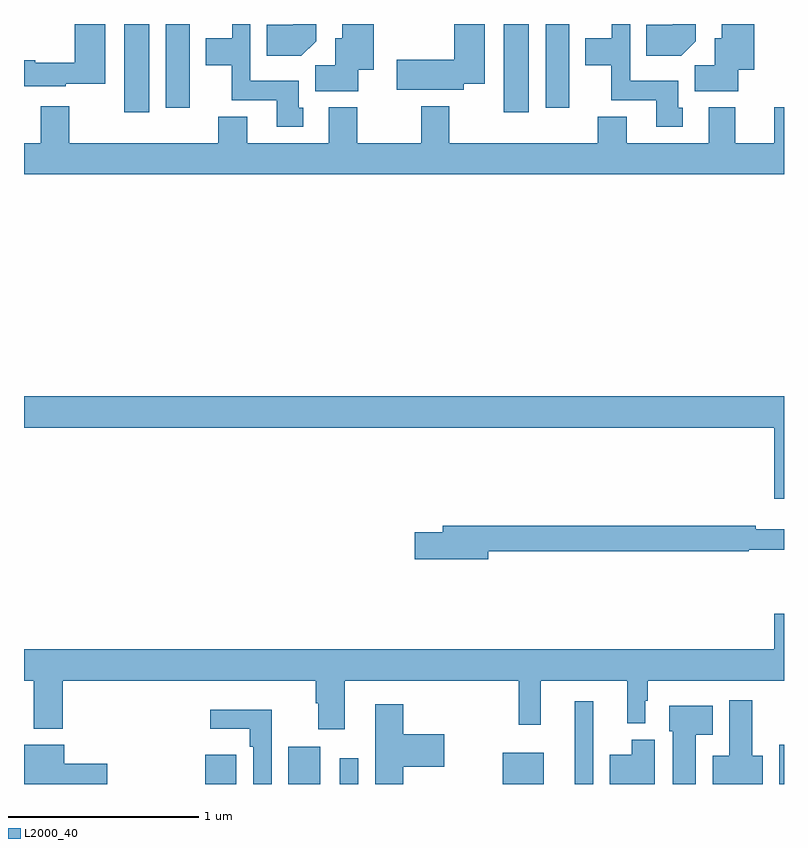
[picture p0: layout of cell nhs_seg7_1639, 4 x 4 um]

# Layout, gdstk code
import gdstk
lib = gdstk.Library(unit=1e-6, precision=1e-09)
def R(c, l, rs):  # rectangles x0, y0, x1, y1
    for r in rs: c.add(gdstk.rectangle(r[:2], r[2:], *l))
def P(c, l, *ps):  # polygons
    for p in ps: c.add(gdstk.Polygon(p, *l))
L2000_40 = (2000, 40)

nhs_seg7_1639 = lib.new_cell('nhs_seg7_1639')
R(nhs_seg7_1639, L2000_40, [(221.954,1072,222.118,1072.153), (222.392,1072,222.559,1072.195), (222.663,1072,222.759,1072.135), (223.52,1072,223.735,1072.165), (223.898,1072,223.995,1072.435), (224.975,1072,225,1072.207), (221.528,1075.536,221.659,1076), (223.526,1075.536,223.657,1076), (221.747,1075.56,221.872,1076), (223.745,1075.56,223.87,1076)])
P(nhs_seg7_1639, L2000_40, [(224.758,1075.76),(224.843,1075.76),(224.843,1076),(224.672,1076),(224.672,1075.924),(224.636,1075.924),(224.636,1075.784),(224.531,1075.784),(224.531,1075.646),(224.758,1075.646)],
  [(222.538,1075.91),(222.538,1076),(222.416,1076),(222.416,1075.996),(222.277,1075.996),(222.277,1075.832),(222.46,1075.832)],
  [(222.76,1075.76),(222.84,1075.76),(222.84,1076),(222.674,1076),(222.674,1075.924),(222.638,1075.924),(222.638,1075.784),(222.533,1075.784),(222.533,1075.646),(222.76,1075.646)],
  [(222.469,1075.56),(222.445,1075.56),(222.445,1075.702),(222.192,1075.702),(222.192,1076),(222.096,1076),(222.096,1075.924),(221.957,1075.924),(221.957,1075.784),(222.094,1075.784),(222.094,1075.598),(222.329,1075.598),(222.329,1075.458),(222.469,1075.458)],
  [(224.467,1075.56),(224.443,1075.56),(224.443,1075.702),(224.19,1075.702),(224.19,1076),(224.094,1076),(224.094,1075.924),(223.955,1075.924),(223.955,1075.784),(224.092,1075.784),(224.092,1075.598),(224.327,1075.598),(224.327,1075.458),(224.467,1075.458)],
  [(224.536,1075.91),(224.536,1076),(224.414,1076),(224.414,1075.996),(224.275,1075.996),(224.275,1075.832),(224.458,1075.832)],
  [(221.22,1075.685),(221.428,1075.685),(221.428,1075.999),(221.266,1075.999),(221.266,1075.795),(221.058,1075.795),(221.058,1075.808),(221,1075.808),(221,1075.673),(221.22,1075.673)],
  [(223.315,1075.685),(223.426,1075.685),(223.426,1075.999),(223.264,1075.999),(223.264,1075.813),(222.963,1075.813),(222.963,1075.655),(223.315,1075.655)],
  [(225,1075.561),(224.948,1075.561),(224.948,1075.372),(224.743,1075.372),(224.743,1075.561),(224.603,1075.561),(224.603,1075.372),(224.173,1075.372),(224.173,1075.513),(224.021,1075.513),(224.021,1075.372),(223.237,1075.372),(223.237,1075.567),(223.09,1075.567),(223.09,1075.372),(222.753,1075.372),(222.753,1075.561),(222.605,1075.561),(222.605,1075.372),(222.175,1075.372),(222.175,1075.513),(222.023,1075.513),(222.023,1075.372),(221.239,1075.372),(221.239,1075.567),(221.087,1075.567),(221.087,1075.372),(221,1075.372),(221,1075.208),(225,1075.208)],
  [(225,1074.04),(221,1074.04),(221,1073.876),(224.948,1073.876),(224.948,1073.502),(225,1073.502)],
  [(223.444,1073.224),(224.814,1073.224),(224.814,1073.232),(225,1073.232),(225,1073.341),(224.852,1073.341),(224.852,1073.36),(223.205,1073.36),(223.205,1073.324),(223.056,1073.324),(223.056,1073.182),(223.444,1073.182)],
  [(222.688,1072.544),(223.603,1072.544),(223.603,1072.311),(223.721,1072.311),(223.721,1072.544),(224.174,1072.544),(224.174,1072.319),(224.271,1072.319),(224.271,1072.437),(224.284,1072.437),(224.284,1072.544),(225,1072.544),(225,1072.897),(224.948,1072.897),(224.948,1072.708),(221,1072.708),(221,1072.544),(221.051,1072.544),(221.051,1072.292),(221.204,1072.292),(221.204,1072.544),(222.536,1072.544),(222.536,1072.424),(222.548,1072.424),(222.548,1072.287),(222.688,1072.287)],
  [(224.887,1072.15),(224.833,1072.15),(224.833,1072.441),(224.711,1072.441),(224.711,1072.15),(224.624,1072.15),(224.624,1072),(224.887,1072)],
  [(222.995,1072.091),(223.213,1072.091),(223.213,1072.261),(222.995,1072.261),(222.995,1072.42),(222.848,1072.42),(222.848,1072),(222.995,1072)],
  [(224.536,1072.259),(224.626,1072.259),(224.626,1072.411),(224.397,1072.411),(224.397,1072.278),(224.414,1072.278),(224.414,1072),(224.536,1072)],
  [(222.303,1072.39),(221.979,1072.39),(221.979,1072.292),(222.187,1072.292),(222.187,1072.196),(222.207,1072.196),(222.207,1072),(222.303,1072)],
  [(224.32,1072.234),(224.198,1072.234),(224.198,1072.153),(224.084,1072.153),(224.084,1072),(224.32,1072)],
  [(221.437,1072.107),(221.212,1072.107),(221.212,1072.207),(221,1072.207),(221,1072),(221.437,1072)])

lib.write_gds('nhs_seg7_1639.gds')
